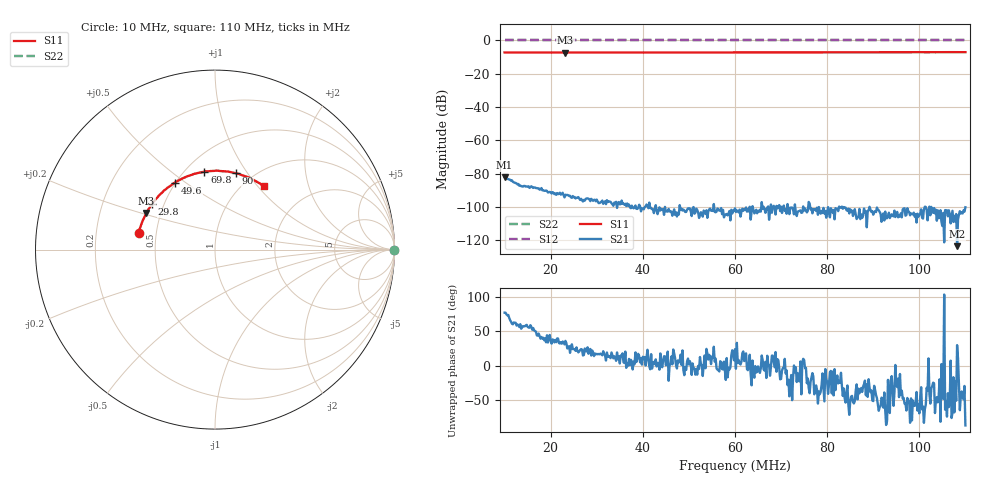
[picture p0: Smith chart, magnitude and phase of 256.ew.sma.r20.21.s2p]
! Anritsu VNA Master:  Model: MS2036C/10/77
! SN:  1601066
! /card0/usr/256.ew.sma.r20.21.s2p
! Existing Calibration Information:
! TYPE:  Current Settings,  Active Cal Settings
! TIME:  12/19/2017 02:41:47 PM,  12/19/2017 02:22:10 PM
! INTERNAL TEMP:  46.3 C,  45.0 C
! # POINTS:  501,  501
! START FREQ:  10.000 MHz,  10.000 MHz
! STOP FREQ:  110.000 MHz,  110.000 MHz
! SOURCE POWER:  High,  High
! IFBW:  100 Hz,  100 Hz
! AVG FACTOR:  1 ,  1
! REF PLANE 1:  0 mm,  0 mm
! REF PLANE 2:  0 mm,  0 mm
! CAL TYPE:  Full S11,  Full S11
! CAL METHOD:  SOLT,  SOLT
! CAL LINE TYPE:  Coax,  Coax
! DUT PORT 1:  N-Conn(F),  N-Conn(F)
! DUT PORT 2:  K-Conn(F),  K-Conn(F)
! CAL STATUS:  OK: Accuracy High,  --
# GHZ S DB R 50.0
! FREQ.GHZ  S11DB  S11A  S21DB  S21A  S12DB  S12A  S22DB  S22A
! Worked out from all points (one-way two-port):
!   501 points, 10 MHz to 110 MHz, reference 50 ohm
!   highest |S21| = -82.29 dB at 10 MHz (marker M1); lowest = -123.6 dB at 108.2 MHz (marker M2)
!   lowest |S11| = -7.3 dB at 23.2 MHz (marker M3), VSWR 2.52, Z = 20.8 + j10.4 ohm
!   |S11| at or under -10 dB: nowhere
!   |S22| runs from 0.0 to 0.0 dB; largest |S21 - S12| = 1
!   S11 on the Smith chart (normalised r, x): 10 MHz: 0.40, +0.09; 29.8 MHz: 0.43, +0.27; 49.6 MHz: 0.50, +0.46; 69.8 MHz: 0.62, +0.66; 90 MHz: 0.84, +0.88; 110 MHz: 1.22, +1.08
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0.01  -7.22 167.8  -82.29 77.2  0.00 0.0  0.00 0.0
0.0176  -7.25 158.6  -89.66 43.1  0.00 0.0  0.00 0.0
0.0232  -7.28 151.9  -92.70 36.3  0.00 0.0  0.00 0.0
0.0268  -7.28 147.7  -96.09 23.6  0.00 0.0  0.00 0.0
0.0298  -7.26 144.3  -96.65 16.8  0.00 0.0  0.00 0.0
0.0336  -7.25 139.8  -99.36 11.0  0.00 0.0  0.00 0.0
0.0364  -7.25 136.3  -99.52 -2.9  0.00 0.0  0.00 0.0
0.0404  -7.23 131.6  -100.13 12.8  0.00 0.0  0.00 0.0
0.0434  -7.25 128.2  -102.30 3.8  0.00 0.0  0.00 0.0
0.0496  -7.24 121.0  -101.77 6.8  0.00 0.0  0.00 0.0
0.055  -7.21 114.6  -101.92 13.6  0.00 0.0  0.00 0.0
0.06  -7.21 109.0  -100.88 24.2  0.00 0.0  0.00 0.0
0.0628  -7.18 105.8  -101.55 -6.2  0.00 0.0  0.00 0.0
0.0698  -7.16 97.8  -102.55 -19.5  0.00 0.0  0.00 0.0
0.0768  -7.14 89.7  -103.89 -10.5  0.00 0.0  0.00 0.0
0.0792  -7.15 87.2  -100.62 -31.1  0.00 0.0  0.00 0.0
0.085  -7.11 80.4  -101.44 -51.7  0.00 0.0  0.00 0.0
0.09  -7.11 74.8  -104.71 -51.0  0.00 0.0  0.00 0.0
0.0934  -7.10 71.1  -103.53 -54.2  0.00 0.0  0.00 0.0
0.0996  -7.04 64.0  -104.12 -64.9  0.00 0.0  0.00 0.0
0.1082  -7.04 54.5  -123.62 30.1  0.00 0.0  0.00 0.0
0.11  -7.04 52.4  -100.24 -86.4  0.00 0.0  0.00 0.0
